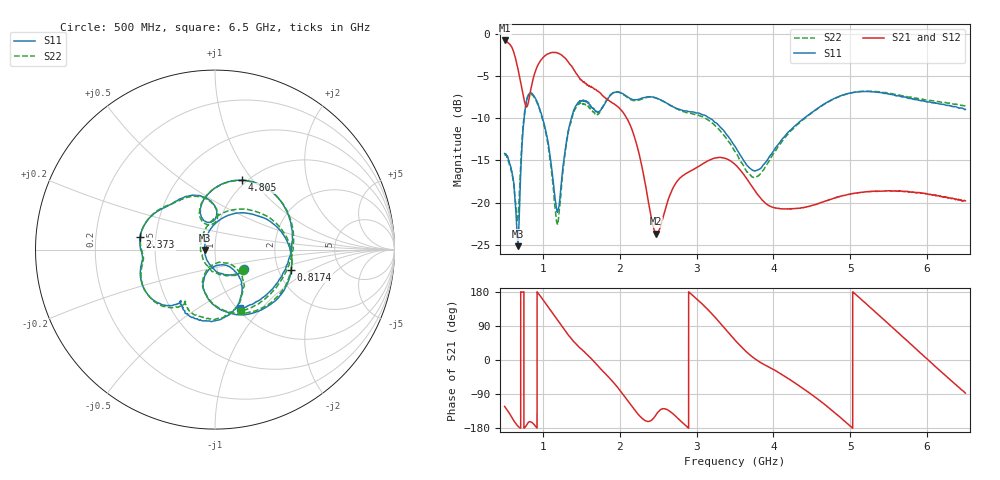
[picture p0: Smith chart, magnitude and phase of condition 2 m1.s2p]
# Hz S DB R 50
! CMT, S5065, 24347010, 24.3.4/3
! Date: 10/15/2024 12:23:42 PM
! Data: Format (Calibration Info)
! Freq	S11:dB/Ang(F2)	S21:dB/Ang(F2)	S12:dB/Ang(F2)	S22:dB/Ang(F2)
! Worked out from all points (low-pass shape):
!   10001 points, 500 MHz to 6.5 GHz, reference 50 ohm
!   highest |S21| = -0.80 dB at 500 MHz (marker M1); lowest = -23.7 dB at 2.472 GHz (marker M2)
!   |S21| within 3 dB of the highest: start of sweep to 664.7 MHz; 928.7 MHz to 1.367 GHz (438.4 MHz wide, 38.2 % of centre)
!   lowest |S11| = -25.2 dB at 672.8 MHz (marker M3), VSWR 1.12, Z = 44.8 - j0.249 ohm
!   |S11| at or under -10 dB: start of sweep to 754.4 MHz; 994.2 MHz to 1.37 GHz (375.8 MHz wide, 31.8 % of centre); 3.169 GHz to 4.401 GHz (1.232 GHz wide, 32.6 % of centre)
!   |S22| runs from -22.6 to -6.8 dB; largest |S21 - S12| = 0.0041
!   S11 on the Smith chart (normalised r, x): 500 MHz: 1.35, -0.30; 817.4 MHz: 2.35, -0.65; 2.373 GHz: 0.41, +0.07; 4.805 GHz: 0.95, +0.89; 6.5 GHz: 1.03, -0.77
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5e8  -14.20 -33.3  -0.80 -122.5  -0.80 -122.6  -14.30 -36.4
5.966e8  -16.42 -68.1  -1.66 -152.3  -1.65 -152.4  -16.60 -73.9
6.728e8  -25.17 -177.1  -4.13 -174.4  -4.14 -174.5  -21.80 173.1
7.424e8  -11.15 46.4  -7.33 179.2  -7.34 179.1  -10.72 49.8
8.174e8  -7.15 -14.7  -7.76 -163.4  -7.75 -163.5  -7.19 -13.4
8.954e8  -7.58 -55.7  -4.59 -173.0  -4.59 -173.1  -7.72 -54.5
9.986e8  -10.13 -90.5  -2.84 159.4  -2.84 159.2  -10.28 -91.0
1.1858e9  -21.13 -81.1  -2.27 106.2  -2.26 106.0  -22.52 -80.1
1.3298e9  -11.49 -55.5  -3.36 65.9  -3.37 65.8  -11.56 -53.1
1.5002e9  -7.98 -96.9  -5.51 28.8  -5.52 28.6  -8.30 -95.8
1.9508e9  -6.93 -147.6  -8.48 -67.2  -8.47 -67.3  -6.91 -146.7
2.1668e9  -7.80 -172.3  -11.58 -125.0  -11.58 -125.1  -7.90 -172.0
2.3726e9  -7.46 170.7  -19.93 -162.1  -19.96 -162.4  -7.51 170.8
2.4722e9  -7.62 160.0  -23.69 -144.5  -23.72 -144.6  -7.61 159.6
2.5004e9  -7.73 157.0  -23.48 -136.8  -23.53 -137.0  -7.71 156.6
2.8016e9  -9.04 134.9  -16.97 -162.6  -16.97 -162.9  -9.16 132.4
3.5e9  -13.36 87.4  -15.48 52.6  -15.50 52.3  -13.95 85.5
3.791e9  -16.16 102.9  -19.01 -1.2  -19.02 -1.4  -16.92 104.4
4.5002e9  -9.33 90.3  -20.36 -91.6  -20.38 -91.9  -9.38 90.6
4.805e9  -7.62 68.5  -19.43 -140.0  -19.47 -140.3  -7.65 68.1
5.5004e9  -7.14 11.6  -18.61 95.0  -18.64 94.7  -7.06 9.9
6.5e9  -8.98 -66.7  -19.81 -87.4  -19.84 -87.6  -8.59 -67.1
